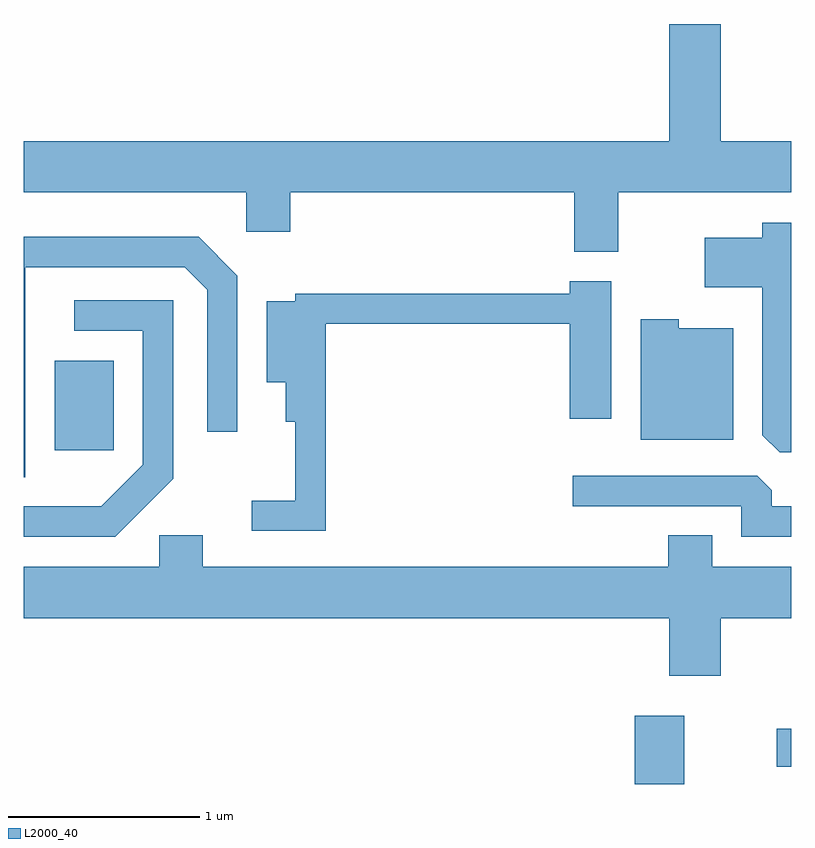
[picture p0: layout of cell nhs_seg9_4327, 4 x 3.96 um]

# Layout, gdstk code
import gdstk
lib = gdstk.Library(unit=1e-6, precision=1e-09)
def R(c, l, rs):  # rectangles x0, y0, x1, y1
    for r in rs: c.add(gdstk.rectangle(r[:2], r[2:], *l))
def P(c, l, *ps):  # polygons
    for p in ps: c.add(gdstk.Polygon(p, *l))
L2000_40 = (2000, 40)

nhs_seg9_4327 = lib.new_cell('nhs_seg9_4327')
R(nhs_seg9_4327, L2000_40, [(314.796,2066.432,315.054,2066.789), (315.536,2066.521,315.611,2066.719), (311.771,2068.171,312.079,2068.639)])
P(nhs_seg9_4327, L2000_40, [(314.709,2069.516),(315.611,2069.516),(315.611,2069.784),(315.244,2069.784),(315.244,2070.394),(314.976,2070.394),(314.976,2069.784),(311.611,2069.784),(311.611,2069.516),(312.771,2069.516),(312.771,2069.311),(312.999,2069.311),(312.999,2069.516),(314.481,2069.516),(314.481,2069.206),(314.709,2069.206)],
  [(315.611,2069.359),(315.461,2069.359),(315.461,2069.279),(315.161,2069.279),(315.161,2069.021),(315.461,2069.021),(315.461,2068.251),(315.552,2068.161),(315.611,2068.161)],
  [(311.619,2069.126),(312.449,2069.126),(312.566,2069.009),(312.566,2068.268),(312.724,2068.268),(312.724,2069.082),(312.522,2069.284),(311.611,2069.284),(311.611,2068.031),(311.619,2068.031)],
  [(313.184,2068.831),(314.456,2068.831),(314.456,2068.336),(314.674,2068.336),(314.674,2069.054),(314.456,2069.054),(314.456,2068.989),(313.026,2068.989),(313.026,2068.949),(312.876,2068.949),(312.876,2068.526),(312.976,2068.526),(312.976,2068.321),(313.026,2068.321),(313.026,2067.909),(312.798,2067.909),(312.798,2067.751),(313.184,2067.751)],
  [(312.389,2068.024),(312.389,2068.954),(311.873,2068.954),(311.873,2068.796),(312.231,2068.796),(312.231,2068.097),(312.014,2067.879),(311.611,2067.879),(311.611,2067.721),(312.087,2067.721)],
  [(315.309,2068.809),(315.024,2068.809),(315.024,2068.854),(314.826,2068.854),(314.826,2068.226),(315.309,2068.226)],
  [(315.611,2067.879),(315.509,2067.879),(315.509,2067.963),(315.434,2068.039),(314.473,2068.039),(314.473,2067.881),(315.351,2067.881),(315.351,2067.721),(315.611,2067.721)],
  [(315.244,2067.296),(315.611,2067.296),(315.611,2067.564),(315.199,2067.564),(315.199,2067.729),(314.971,2067.729),(314.971,2067.564),(312.544,2067.564),(312.544,2067.729),(312.316,2067.729),(312.316,2067.564),(311.611,2067.564),(311.611,2067.296),(314.976,2067.296),(314.976,2066.996),(315.244,2066.996)])

lib.write_gds('nhs_seg9_4327.gds')
